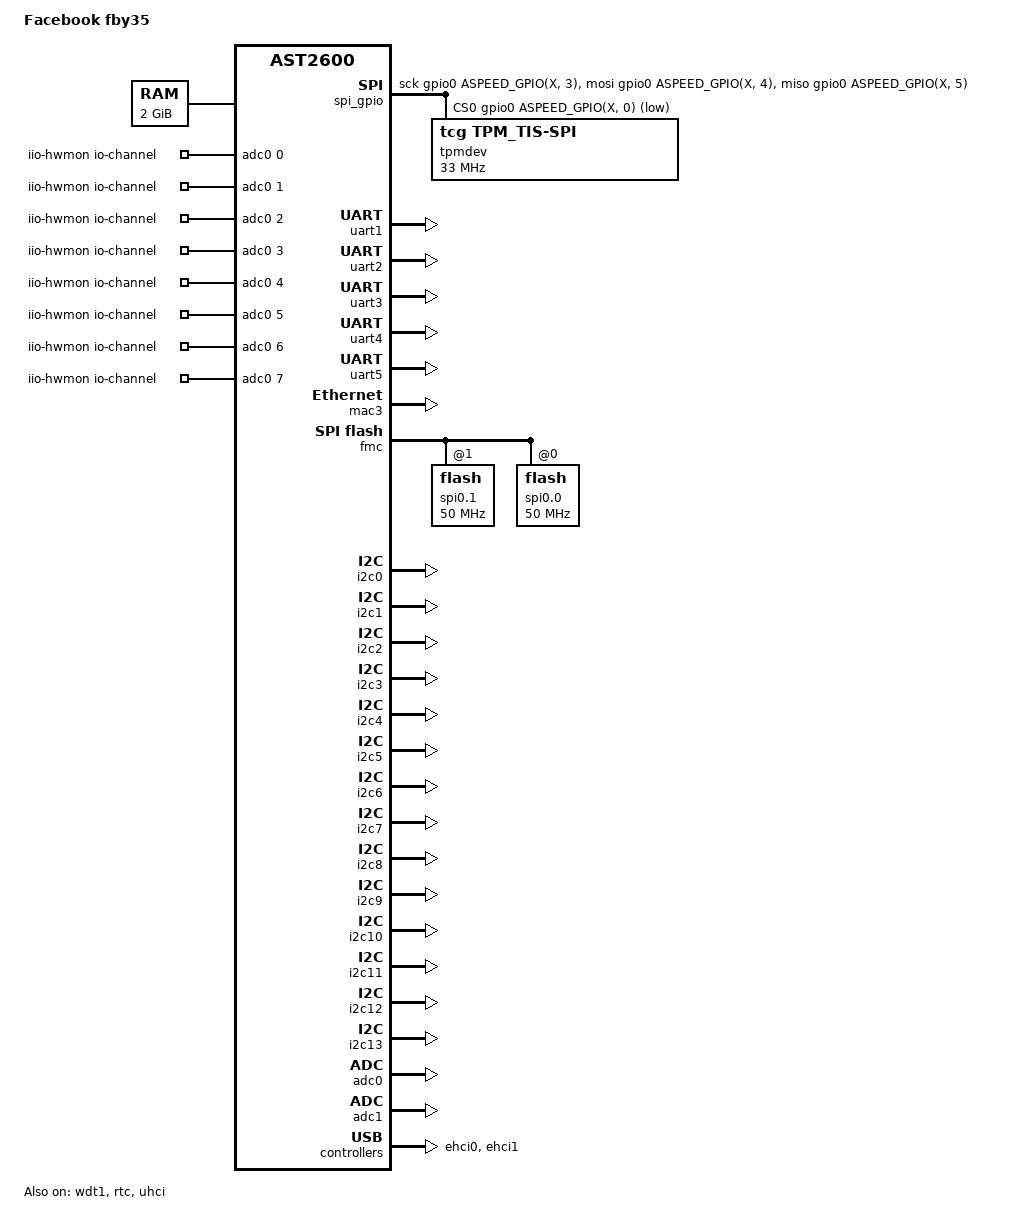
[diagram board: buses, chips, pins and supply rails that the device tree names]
// SPDX-License-Identifier: GPL-2.0-or-later
// Copyright (c) 2020 Facebook Inc.

/dts-v1/;

#include "aspeed-g6.dtsi"
#include <dt-bindings/gpio/aspeed-gpio.h>
#include <dt-bindings/leds/leds-pca955x.h>

/ {
	model = "Facebook fby35";
	compatible = "facebook,fby35", "aspeed,ast2600";

	aliases {
		serial0 = &uart5;
		serial1 = &uart1;
		serial2 = &uart2;
		serial3 = &uart3;
		serial4 = &uart4;

		spi2 = &spi_gpio;
	};

	chosen {
		stdout-path = &uart5;
		bootargs = "console=ttyS0,57600n8 root=/dev/ram rw vmalloc=384M";
	};

	memory@80000000 {
		device_type = "memory";
		reg = <0x80000000 0x80000000>;
	};
	iio-hwmon {
		compatible = "iio-hwmon";
		io-channels = <&adc0 0>, <&adc0 1>, <&adc0 2>, <&adc0 3>,
			<&adc0 4>, <&adc0 5>, <&adc0 6>, <&adc0 7>,
			<&adc1 0>, <&adc1 1>, <&adc1 2>, <&adc1 3>,
			<&adc1 4>, <&adc1 5>, <&adc1 6>;
	};

	spi_gpio: spi-gpio {
		status = "okay";
		compatible = "spi-gpio";
		#address-cells = <1>;
		#size-cells = <0>;

		gpio-sck = <&gpio0 ASPEED_GPIO(X, 3) GPIO_ACTIVE_HIGH>;
		gpio-mosi = <&gpio0 ASPEED_GPIO(X, 4) GPIO_ACTIVE_HIGH>;
		gpio-miso = <&gpio0 ASPEED_GPIO(X, 5) GPIO_ACTIVE_HIGH>;
		num-chipselects = <1>;
		cs-gpios = <&gpio0 ASPEED_GPIO(X, 0) GPIO_ACTIVE_LOW>;

		tpmdev@0 {
			compatible = "tcg,tpm_tis-spi";
			spi-max-frequency = <33000000>;
			reg = <0>;
		};
	};
};

&uart1 {
	compatible = "aspeed,ast2600-uart";
	status = "okay";
};

&uart2 {
	compatible = "aspeed,ast2600-uart";
	status = "okay";
};

&uart3 {
	compatible = "aspeed,ast2600-uart";
	status = "okay";
};

&uart4 {
	compatible = "aspeed,ast2600-uart";
	status = "okay";
};

&uart5 {
	status = "okay";
	/* Workaround for AST2600 A0 */
	compatible = "snps,dw-apb-uart";
};

&wdt1 {
	status = "okay";
	pinctrl-names = "default";
	pinctrl-0 = <&pinctrl_wdtrst1_default>;
	aspeed,reset-type = "soc";
	aspeed,external-signal;
	aspeed,ext-push-pull;
	aspeed,ext-active-high;
	aspeed,ext-pulse-duration = <256>;
};

&mac3 {
	status = "okay";

	pinctrl-names = "default";
	pinctrl-0 = <&pinctrl_rmii4_default>;
	no-hw-checksum;
	use-ncsi;
	mlx,multi-host;
	disable-ncsi-vlan-filter;
	ncsi-ctrl,start-redo-probe;
	ncsi-ctrl,no-channel-monitor;
	ncsi-package = <1>;
	ncsi-channel = <1>;
	ncsi-rexmit = <1>;
	ncsi-timeout = <2>;
};

&rtc {
	status = "okay";
};

&fmc {
    status = "okay";
    flash@0 {
        reg = < 1 >;
        status = "okay";
        m25p,fast-read;
        label = "spi0.1";
        spi-max-frequency = <50000000>;
        spi-tx-bus-width = <2>;
        spi-rx-bus-width = <2>;
#include "facebook-bmc-vboot2-flash1-32MBdata0-layout.dtsi"
    };
    flash@1 {
        reg = < 0 >;
        status = "okay";
        m25p,fast-read;
        label = "spi0.0";
        spi-max-frequency = <50000000>;
        spi-tx-bus-width = <2>;
        spi-rx-bus-width = <2>;
#include "facebook-bmc-vboot2-flash0-128MB-layout.dtsi"
    };
};

&i2c0 {
        multi-master;
        bus-frequency = <400000>;
        aspeed,hw-timeout-ms = <1000>;
        status = "okay";
};

&i2c1 {
        multi-master;
        bus-frequency = <400000>;
        aspeed,hw-timeout-ms = <1000>;
        status = "okay";
};

&i2c2 {
        multi-master;
        bus-frequency = <400000>;
        aspeed,hw-timeout-ms = <1000>;
        status = "okay";
};

&i2c3 {
        multi-master;
        bus-frequency = <400000>;
        aspeed,hw-timeout-ms = <1000>;
        status = "okay";
};

&i2c4 {
        status = "okay";
};

&i2c5 {
        status = "okay";
};

&i2c6 {
        status = "okay";
};

&i2c7 {
        status = "okay";
};

&i2c8 {
        status = "okay";
};

&i2c9 {
        multi-master;
        bus-frequency = <100000>;
        aspeed,hw-timeout-ms = <1000>;
        status = "okay";
};

&i2c10 {
        status = "okay";
};

&i2c11 {
        status = "okay";
};

&i2c12 {
        status = "okay";
};

&i2c13 {
        status = "okay";
};

&adc0 {
	ref_voltage = <2500>;
	status = "okay";

	pinctrl-0 = <&pinctrl_adc0_default &pinctrl_adc1_default
		&pinctrl_adc2_default &pinctrl_adc3_default
		&pinctrl_adc4_default &pinctrl_adc5_default
		&pinctrl_adc6_default &pinctrl_adc7_default>;
};

&adc1 {
	ref_voltage = <2500>;
	status = "okay";

	pinctrl-0 = <&pinctrl_adc8_default &pinctrl_adc9_default
		&pinctrl_adc10_default &pinctrl_adc11_default
		&pinctrl_adc12_default &pinctrl_adc13_default>;
};

&ehci0 {
	status = "okay";
};

&ehci1 {
	status = "okay";
};

&uhci {
	status = "okay";
};
